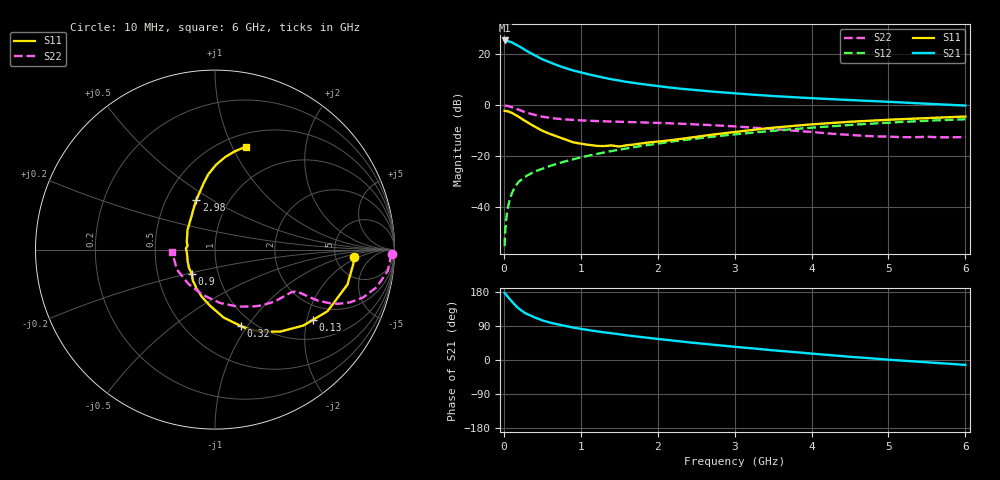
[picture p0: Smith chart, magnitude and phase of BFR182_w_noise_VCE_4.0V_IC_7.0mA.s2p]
! Infineon Technologies  Discrete & RF Semiconductors
! BFR182
! VCE =  4.0 V,  IC =  7.0 mA
! Common Emitter S-Parameters:  Nov 2015
# GHz  S  MA  R  50
!  f  S11  S21  S12  S22
! GHz  MAG  ANG  MAG  ANG  MAG  ANG  MAG  ANG
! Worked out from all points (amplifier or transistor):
!   210 points, 10 MHz to 6 GHz, reference 50 ohm
!   highest |S21| = 25.5 dB at 10 MHz (marker M1)
!   |S21| within 3 dB of that: start of sweep to 237.5 MHz
!   unconditionally stable (mu >= 1): 928.8 MHz to 2.754 GHz
!   at 185 MHz: K = 0.40, MSG = 26.9 dB, |S12| = -30.4 dB
!   at 1.52 GHz: K = 1.06, MAG = 12.0 dB, |S12| = -17.3 dB
!   at 6 GHz: K = 0.89, MSG = 2.7 dB, |S12| = -5.5 dB
!   lowest NFmin = 1.30 dB at 450 MHz
!   S11 on the Smith chart (normalised r, x): 10 MHz: 7.60, -1.61; 130 MHz: 1.53, -2.18; 320 MHz: 0.87, -0.93; 900 MHz: 0.75, -0.21; 2.98 GHz: 0.70, +0.43; 6 GHz: 0.63, +1.13
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0.01  0.7764 -3.1  18.73 177.2  0.0017 94.3  0.9875 -1.4
0.02  0.7748 -5.9  18.34 174.4  0.0037 90.6  0.9786 -2.9
0.05  0.7632 -14.8  18.21 166.9  0.0093 82.1  0.9701 -7.0
0.095  0.7178 -27.2  17.41 156.1  0.0169 77.8  0.9285 -12.5
0.13  0.6717 -35.6  16.3 148.4  0.0225 73.5  0.8895 -15.9
0.15  0.6489 -40.7  15.72 143.7  0.0257 71.6  0.8675 -17.9
0.2  0.5843 -51.4  14.37 134.9  0.032 68.6  0.8086 -21.3
0.26  0.5094 -62.8  12.64 126.1  0.0375 65.1  0.7447 -23.9
0.3  0.4685 -69.0  11.56 121.3  0.0412 64.7  0.7085 -25.0
0.32  0.4492 -71.3  11.14 119.8  0.0429 64.3  0.6955 -25.2
0.4  0.3814 -82.8  9.555 112.3  0.0496 63.0  0.6438 -26.3
0.5  0.3156 -94.7  7.998 104.4  0.0562 63.0  0.5956 -26.7
0.7  0.242 -114.5  6.044 93.8  0.0712 64.2  0.5415 -26.9
0.9  0.187 -134.0  4.816 85.5  0.0866 64.8  0.5145 -27.3
1.02  0.174 -147.4  4.33 81.5  0.0955 65.1  0.5016 -27.8
1.4  0.1623 177.6  3.235 70.5  0.1257 65.2  0.4783 -31.0
2.02  0.1938 139.8  2.352 55.2  0.1786 62.5  0.4487 -38.4
2.98  0.2955 110.6  1.719 35.2  0.2652 55.3  0.3855 -55.1
3.1  0.3101 108.1  1.667 33.1  0.2763 54.0  0.3744 -57.8
4.1  0.4306 93.9  1.351 15.2  0.3715 43.7  0.2889 -88.1
5.1  0.5262 82.7  1.148 -0.5  0.4631 31.5  0.2379 -132.4
6  0.5989 73.3  0.984 -13.0  0.529 19.0  0.2384 -176.2
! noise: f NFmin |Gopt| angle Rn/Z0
0.45  1.3  0.26  40  0.29
0.9  1.45  0.25  81  0.23
1.8  2  0.21  157  0.2
